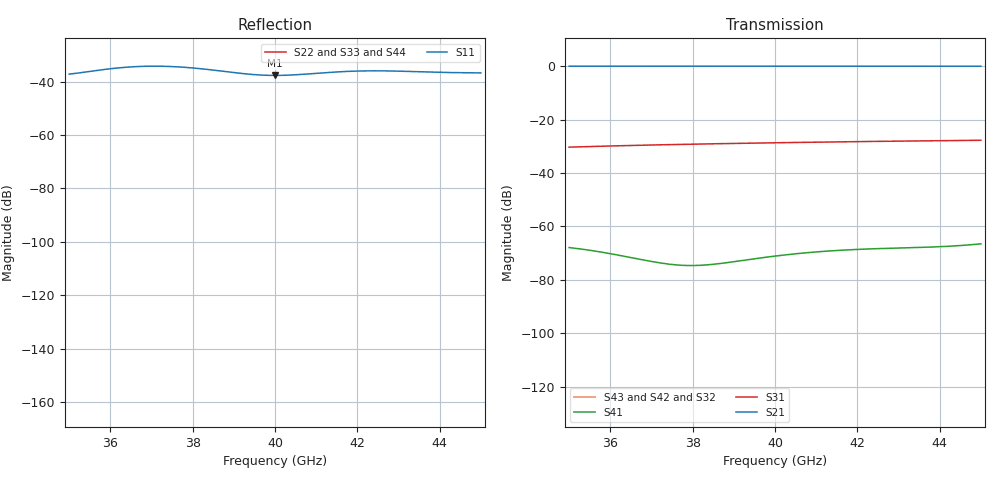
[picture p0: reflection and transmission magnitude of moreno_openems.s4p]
! Moreno cross-guide coupler, openEMS FDTD
! only column 1 (port 1 excited) and, by reciprocity, row 1 are simulated; other entries are zero
! S-parameters are normalised to each port's TE10 wave impedance (generalised
! S-matrix); 'R 50' below is only the placeholder the format requires.
! Reference planes: edges of the common a x a square.
# GHz S MA R 50
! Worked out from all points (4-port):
!   201 points, 35 GHz to 45 GHz, reference 50 ohm
!   strongest paths, dB at 35 GHz, 37.5 GHz, 40 GHz, 42.5 GHz, 45 GHz:
!     S21: 0.0, 0.0, 0.0, 0.0, 0.0
!     S31: -30.3, -29.4, -28.7, -28.2, -27.7
!     S41: -67.9, -74.3, -71.1, -68.3, -66.5
!     S43: -, -, -, -, -
!     S42: -, -, -, -, -
!     S32: -, -, -, -, -
!   lowest |S11| = -37.7 dB at 40 GHz (marker M1), VSWR 1.03, Z = 51.3 + j0.357 ohm
!   |S11| at or under -10 dB: start of sweep to end of sweep
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35  0.01379 -143.8  0.9986 -160.1  0.03048 109.9  0.0004015 -74.2
    0.9986 -160.1  0 0.0  0 0.0  0 0.0
    0.03048 109.9  0 0.0  0 0.0  0 0.0
    0.0004015 -74.2  0 0.0  0 0.0  0 0.0
36.55  0.0189 -91.9  1 -176.1  0.03282 94.0  0.0002566 -126.0
       1 -176.1  0 0.0  0 0.0  0 0.0
       0.03282 94.0  0 0.0  0 0.0  0 0.0
       0.0002566 -126.0  0 0.0  0 0.0  0 0.0
37.8  0.0185 -62.9  0.9996 171.5  0.03442 81.5  0.000186 172.5
      0.9996 171.5  0 0.0  0 0.0  0 0.0
      0.03442 81.5  0 0.0  0 0.0  0 0.0
      0.000186 172.5  0 0.0  0 0.0  0 0.0
38.5  0.01639 -43.7  0.9991 164.8  0.03522 74.8  0.0001951 135.5
      0.9991 164.8  0 0.0  0 0.0  0 0.0
      0.03522 74.8  0 0.0  0 0.0  0 0.0
      0.0001951 135.5  0 0.0  0 0.0  0 0.0
40  0.01302 15.5  0.9991 150.6  0.03681 60.6  0.0002779 81.1
    0.9991 150.6  0 0.0  0 0.0  0 0.0
    0.03681 60.6  0 0.0  0 0.0  0 0.0
    0.0002779 81.1  0 0.0  0 0.0  0 0.0
42.6  0.01585 102.9  0.9997 126.7  0.03918 36.7  0.0003857 31.8
      0.9997 126.7  0 0.0  0 0.0  0 0.0
      0.03918 36.7  0 0.0  0 0.0  0 0.0
      0.0003857 31.8  0 0.0  0 0.0  0 0.0
45  0.0145 178.4  0.9976 105.5  0.04099 15.4  0.0004715 9.1
    0.9976 105.5  0 0.0  0 0.0  0 0.0
    0.04099 15.4  0 0.0  0 0.0  0 0.0
    0.0004715 9.1  0 0.0  0 0.0  0 0.0
